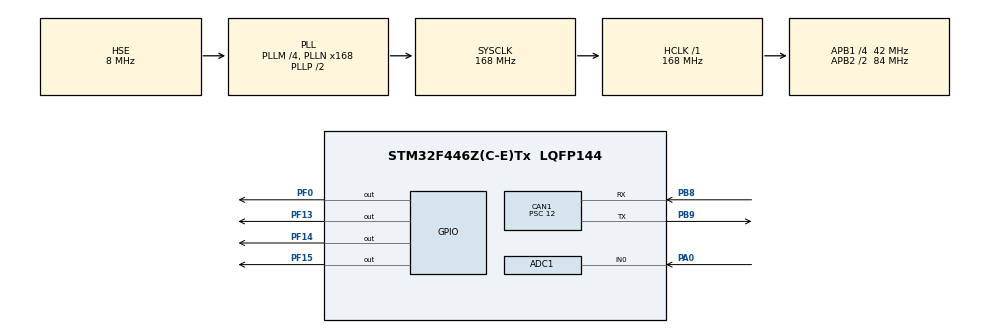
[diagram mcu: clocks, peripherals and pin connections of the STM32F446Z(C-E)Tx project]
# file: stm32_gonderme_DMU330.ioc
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ADC1.Channel-1\#ChannelRegularConversion=ADC_CHANNEL_0
ADC1.Channel-3\#ChannelRegularConversion=ADC_CHANNEL_0
ADC1.ContinuousConvMode=ENABLE
ADC1.DiscontinuousConvMode=DISABLE
ADC1.NbrOfConversion=2
ADC1.NbrOfConversionFlag=1
ADC1.Rank-1\#ChannelRegularConversion=1
ADC1.Rank-3\#ChannelRegularConversion=2
ADC1.SamplingTime-1\#ChannelRegularConversion=ADC_SAMPLETIME_144CYCLES
ADC1.SamplingTime-3\#ChannelRegularConversion=ADC_SAMPLETIME_3CYCLES
ADC1.ScanConvMode=ENABLE
ADC1.master=1
CAN1.BS1=CAN_BS1_11TQ
CAN1.BS2=CAN_BS2_2TQ
CAN1.CalculateBaudRate=250000
CAN1.CalculateTimeBit=4000
CAN1.CalculateTimeQuantum=285.7142857142857
CAN1.Prescaler=12
Mcu.Family=STM32F4
Mcu.Name=STM32F446Z(C-E)Tx
Mcu.Package=LQFP144
NVIC.CAN1_RX0_IRQn=true\:0\:1\:false\:false\:true\:true\:true\:true
NVIC.PriorityGroup=NVIC_PRIORITYGROUP_0
PA0-WKUP.Signal=ADCx_IN0
PA13.Mode=Serial_Wire
PA13.Signal=SYS_JTMS-SWDIO
PA14.Mode=Serial_Wire
PA14.Signal=SYS_JTCK-SWCLK
PB8.Mode=CAN_Activate
PB8.Signal=CAN1_RX
PB9.Mode=CAN_Activate
PB9.Signal=CAN1_TX
PF0.Signal=GPIO_Output
PF13.Signal=GPIO_Output
PF14.Signal=GPIO_Output
PF15.Signal=GPIO_Output
PH0-OSC_IN.Mode=HSE-External-Oscillator
PH0-OSC_IN.Signal=RCC_OSC_IN
PH1-OSC_OUT.Mode=HSE-External-Oscillator
PH1-OSC_OUT.Signal=RCC_OSC_OUT
ProjectManager.HeapSize=0x200
ProjectManager.StackSize=0x400
ProjectManager.TargetToolchain=STM32CubeIDE
RCC.AHBFreq_Value=168000000
RCC.APB1CLKDivider=RCC_HCLK_DIV4
RCC.APB1Freq_Value=42000000
RCC.APB1TimFreq_Value=84000000
RCC.APB2CLKDivider=RCC_HCLK_DIV2
RCC.APB2Freq_Value=84000000
RCC.APB2TimFreq_Value=168000000
RCC.CortexFreq_Value=168000000
RCC.HCLKFreq_Value=168000000
RCC.HSE_VALUE=8000000
RCC.PLLM=4
RCC.PLLN=168
RCC.PLLSourceVirtual=RCC_PLLSOURCE_HSE
RCC.SYSCLKFreq_VALUE=168000000
RCC.SYSCLKSource=RCC_SYSCLKSOURCE_PLLCLK
RCC.USBFreq_Value=168000000
RCC.VCOOutputFreq_Value=336000000
SH.ADCx_IN0.0=ADC1_IN0,IN0
board=custom

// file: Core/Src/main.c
/* USER CODE BEGIN Header */
/**
  ******************************************************************************
  * @file           : main.c
  * @brief          : Main program body
  ******************************************************************************
  * @attention
  *
  * Copyright (c) 2024 STMicroelectronics.
  * All rights reserved.
  *
  * This software is licensed under terms that can be found in the LICENSE file
  * in the root directory of this software component.
  * If no LICENSE file comes with this software, it is provided AS-IS.
  *
  ******************************************************************************
  */
/* USER CODE END Header */
#include "main.h"
#include "stdio.h"
#include "stdlib.h"

/* USER CODE BEGIN PD */
CAN_FilterTypeDef sFilterConfig;
/* USER CODE END PD */

ADC_HandleTypeDef hadc1;

CAN_HandleTypeDef hcan1;

void SystemClock_Config(void);
static void MX_GPIO_Init(void);
static void MX_CAN1_Init(void);
static void MX_ADC1_Init(void);

/* USER CODE BEGIN 0 */
//CAN_TxHeaderTypeDef pTxHeader;
//CAN_RxHeaderTypeDef pRxHeader;

//uint32_t TxData[8];
//uint32_t RxData[8];
//uint32_t TxMailBox;
uint32_t amp1_buff1[8];
uint32_t amp1_buff2[8];

typedef struct {
    CAN_TxHeaderTypeDef pTxHeader; // Mesaj başlığı
    CAN_RxHeaderTypeDef RxHeader;

    uint8_t TxData[8];            // Veri
    uint32_t TxMailbox;           // Mailbox ID
    uint8_t RxData[8];            // Alınan veri
    uint16_t feedback_amp;        // Geri bildirim verisi
} CAN_MessageTypeDef;

CAN_MessageTypeDef amp1;

//CAN_TxHeaderTypeDef pTxHeader; // Mesaj başlığı
//unsigned char TxData[8];      // Veri
//uint32_t TxMailbox;          // Mailbox ID
//uint32_t RxData[8];         // Alınan veri
//uint16_t feedback_amp;     // Geri bildirim verisi

/* USER CODE END 0 */

int main(void)
{

  /* MCU Configuration--------------------------------------------------------*/

  /* Reset of all peripherals, Initializes the Flash interface and the Systick. */
  HAL_Init();

  /* Configure the system clock */
  SystemClock_Config();

  /* Initialize all configured peripherals */
  MX_GPIO_Init();
  MX_CAN1_Init();
  MX_ADC1_Init();
  /* USER CODE BEGIN 2 */
	HAL_CAN_Start(&hcan1);

    // Activate interrupt
    HAL_CAN_ActivateNotification(&hcan1, CAN_IT_RX_FIFO0_MSG_PENDING);
//	  // set filter parameter
  if (HAL_CAN_ActivateNotification(&hcan1, CAN_IT_RX_FIFO0_MSG_PENDING) != HAL_OK)
    {
      Error_Handler();
    }
    sFilterConfig.FilterBank = 0;
    sFilterConfig.FilterMode = CAN_FILTERMODE_IDMASK;
    sFilterConfig.FilterScale = CAN_FILTERSCALE_32BIT;
    sFilterConfig.FilterIdHigh = 0x0000;
    sFilterConfig.FilterIdLow = 0x0000 ;
    sFilterConfig.FilterMaskIdHigh =0x0000; // 0xFFF0- 0x0150 dersek yine aynı şeyi yapar
    sFilterConfig.FilterMaskIdLow = 0x0000;
    sFilterConfig.FilterFIFOAssignment = CAN_RX_FIFO0;
    sFilterConfig.FilterActivation = ENABLE;
  //  HAL_CAN_GetRxMessage(&hcan1, CAN_RX_FIFO0 , &pRxHeader, RxData);
    HAL_CAN_ActivateNotification(&hcan1, CAN_IT_RX_FIFO0_MSG_PENDING);
    if (HAL_CAN_ConfigFilter(&hcan1, &sFilterConfig) != HAL_OK)
    {
      Error_Handler();
    }

//    amp1.RxHeader.StdId=0x0000;
//    amp1.RxHeader.DLC=1;
//    amp1.RxHeader.IDE=CAN_ID_STD;
//    amp1.RxHeader.RTR=CAN_RTR_DATA;

    amp1.pTxHeader.StdId= 0x0000;// 0x07E1
    amp1.pTxHeader.DLC=8;
    amp1.pTxHeader.IDE=CAN_ID_STD;
    amp1.pTxHeader.RTR = CAN_RTR_DATA;

	HAL_CAN_ConfigFilter(&hcan1, &sFilterConfig);

//////*******************************************************
	/// dmu okuma
//void Read_Adc(){
//    HAL_ADC_Start(&hadc1);  // ADC'yi başlat
//
//    if(HAL_ADC_PollForConversion(&hadc1, 100000) == HAL_OK){
//    	TxData[0] = HAL_ADC_GetValue(&hadc1);
//    	TxData[1] =
//    	HAL_CAN_AddTxMessage(&hcan1, &pTxHeader, TxData, &TxMailBox);
//    }
//    HAL_ADC_Stop(&hadc1);

//////*******************************************************

	void Read_Adc()
	{
	    HAL_ADC_Start(&hadc1);  // ADC'yi başlat

	    if(HAL_ADC_PollForConversion(&hadc1, 100000) == HAL_OK)
	    {
	    	amp1.TxData[0] = HAL_ADC_GetValue(&hadc1);
//	    	HAL_ADC_GetValue(&hadc1);

//	        amp1.TxData[0]=0x48;
	        amp1.TxData[1]=0x00;
	        amp1.TxData[2]=0x21;
	        amp1.TxData[3]=0x01;
	        amp1.TxData[4]=0x20;
	        amp1.TxData[5]=0x12;
	     	amp1.TxData[6]=0x00;
	        amp1.TxData[7]=0x30;
	        HAL_CAN_AddTxMessage(&hcan1, &amp1.pTxHeader, amp1.TxData, &amp1.TxMailbox);
	        HAL_Delay(1);

	        if(amp1.RxData[5] != 0xFF)
	        {
	        sprintf(amp1_buff1, "%d", amp1.RxData[4]);
	        sprintf(amp1_buff2, "%d", amp1.RxData[5]);
	       	amp1.feedback_amp= atoi(amp1_buff2)*256 + atoi(amp1_buff1);  //atoi (ASCII to Integer), bir C kütüphane fonksiyonudur ve bir C string'ini (char dizisini) tamsayı (int) veri türüne dönüştürmek için kullanılır.
	        }else{
	        sprintf(amp1_buff1, "%d", amp1.RxData[4]);
	        sprintf(amp1_buff2, "%d", amp1.RxData[5]);
	        amp1.feedback_amp = 65536 - (atoi(amp1_buff2)*256 + atoi(amp1_buff1));
	        }
	        HAL_Delay(1);

	    }
}
//	    HAL_ADC_Stop(&hadc1);

//    amp1.TxData[0]=0x48;
//    amp1.TxData[1]=0x00;
//    amp1.TxData[2]=0x21;
//    amp1.TxData[3]=0x01;
//    amp1.TxData[4]=0x00;
//    amp1.TxData[5]=0x00;
// 	amp1.TxData[6]=0x00;
//    amp1.TxData[7]=0x00;
//    HAL_CAN_AddTxMessage(&hcan1, &amp1.TxHeader, amp1.TxData, &amp1.TxMailbox);
//    HAL_Delay(1);
//
//    amp2.TxData[0]=0x48;
//    amp2.TxData[1]=0x00;
//    amp2.TxData[2]=0x21;
//    amp2.TxData[3]=0x02;
//    amp2.TxData[4]=0x00;
//   	amp2.TxData[5]=0x00;
//    amp2.TxData[6]=0x00;
//    amp2.TxData[7]=0x00;
//    HAL_CAN_AddTxMessage(&hcan1, &amp2.TxHeader, amp2.TxData, &amp2.TxMailbox);
//
//    if(amp1.RxData[5] != 0xFF)
//    {
//    sprintf(amp1_buff1, "%d", amp1.RxData[4]);
//    sprintf(amp1_buff2, "%d", amp1.RxData[5]);
//   	amp1.feedback_amp= atoi(amp1_buff2)*256 + atoi(amp1_buff1);  //atoi (ASCII to Integer), bir C kütüphane fonksiyonudur ve bir C string'ini (char dizisini) tamsayı (int) veri türüne dönüştürmek için kullanılır.
//    }else{
//    sprintf(amp1_buff1, "%d", amp1.RxData[4]);
//    sprintf(amp1_buff2, "%d", amp1.RxData[5]);
//    amp1.feedback_amp = 65536 - (atoi(amp1_buff2)*256 + atoi(amp1_buff1));
//    }
//    HAL_Delay(1);
//
//    if(amp2.RxData[5] != 0xFF)
//    {
//    sprintf(amp2_buff1, "%d", amp2.RxData[4]);
//    sprintf(amp2_buff2, "%d", amp2.RxData[5]);
//    amp2.feedback_amp = atoi(amp2_buff2)*256 + atoi(amp2_buff1);
//    }else{
//    sprintf(amp2_buff1, "%d", amp2.RxData[4]);
//    sprintf(amp2_buff2, "%d", amp2.RxData[5]);
//    amp2.feedback_amp= 65536 - (atoi(amp2_buff2)*256 + atoi(amp2_buff1));
//    }

  /* USER CODE END 2 */

  /* Infinite loop */
  while (1)
  {

    /* USER CODE BEGIN 3 */
//	  ADC_val = HAL_ADC_GetValue(&hadc1);
//	  HAL_ADC_PollForConversion(&hadc1, ADC_val); // ADC dönüşümünü
	  Read_Adc();
//	  HAL_ADC_Start(&hadc1);
////	  HAL_ADC_PollForConversion(&hadc1 ,100);
//	  ADC_Val = HAL_ADC_GetValue(&hadc1);

//      TxData[0]=0x48;
//      TxData[1]=0x00;
//      TxData[2]=0x21;
//      TxData[3]=0x01;
//      TxData[4]=0x20;
//      TxData[5]=0xFF;
//   	  TxData[6]=0x00;
//      TxData[7]=0x00;
//      HAL_CAN_AddTxMessage(&hcan1, &amp1.pTxHeader, TxData, &TxMailbox);
//      HAL_Delay(1);
//	    // Test: Set GPIO pin high
//	    HAL_GPIO_WritePin(GPIOF, GPIO_PIN_0, GPIO_PIN_SET);
//
//	    // Get ADC value
//	    HAL_ADC_Start(&hadc1);
//	    HAL_ADC_PollForConversion(&hadc1, HAL_MAX_DELAY);
//	    ADC_Val = HAL_ADC_GetValue(&hadc1);
//
//	    // Test: Set GPIO pin low
//	    HAL_GPIO_WritePin(GPIOF, GPIO_PIN_0, GPIO_PIN_RESET);

	  //***************************
	  // gelen veri ile toggle yapma
//      TxData=HAL_GPIO_ReadPin(GPIOE, GPIO_PIN_13);
//      if(TxData==1){
//    	  HAL_GPIO_TogglePin(GPIOF, GPIO_PIN_0);
//      }else{
//    	  HAL_GPIO_WritePin(GPIOF, GPIO_PIN_0, GPIO_PIN_RESET);
//      }
	  //***************************
  }
  /* USER CODE END 3 */
}

void SystemClock_Config(void)
{
  RCC_OscInitTypeDef RCC_OscInitStruct = {0};
  RCC_ClkInitTypeDef RCC_ClkInitStruct = {0};

  /** Configure the main internal regulator output voltage
  */
  __HAL_RCC_PWR_CLK_ENABLE();
  __HAL_PWR_VOLTAGESCALING_CONFIG(PWR_REGULATOR_VOLTAGE_SCALE1);

  /** Initializes the RCC Oscillators according to the specified parameters
  * in the RCC_OscInitTypeDef structure.
  */
  RCC_OscInitStruct.OscillatorType = RCC_OSCILLATORTYPE_HSE;
  RCC_OscInitStruct.HSEState = RCC_HSE_ON;
  RCC_OscInitStruct.PLL.PLLState = RCC_PLL_ON;
  RCC_OscInitStruct.PLL.PLLSource = RCC_PLLSOURCE_HSE;
  RCC_OscInitStruct.PLL.PLLM = 4;
  RCC_OscInitStruct.PLL.PLLN = 168;
  RCC_OscInitStruct.PLL.PLLP = RCC_PLLP_DIV2;
  RCC_OscInitStruct.PLL.PLLQ = 2;
  RCC_OscInitStruct.PLL.PLLR = 2;
  if (HAL_RCC_OscConfig(&RCC_OscInitStruct) != HAL_OK)
  {
    Error_Handler();
  }

  /** Initializes the CPU, AHB and APB buses clocks
  */
  RCC_ClkInitStruct.ClockType = RCC_CLOCKTYPE_HCLK|RCC_CLOCKTYPE_SYSCLK
                              |RCC_CLOCKTYPE_PCLK1|RCC_CLOCKTYPE_PCLK2;
  RCC_ClkInitStruct.SYSCLKSource = RCC_SYSCLKSOURCE_PLLCLK;
  RCC_ClkInitStruct.AHBCLKDivider = RCC_SYSCLK_DIV1;
  RCC_ClkInitStruct.APB1CLKDivider = RCC_HCLK_DIV4;
  RCC_ClkInitStruct.APB2CLKDivider = RCC_HCLK_DIV2;

  if (HAL_RCC_ClockConfig(&RCC_ClkInitStruct, FLASH_LATENCY_5) != HAL_OK)
  {
    Error_Handler();
  }
}

static void MX_ADC1_Init(void)
{

  ADC_ChannelConfTypeDef sConfig = {0};

  /** Configure the global features of the ADC (Clock, Resolution, Data Alignment and number of conversion)
  */
  hadc1.Instance = ADC1;
  hadc1.Init.ClockPrescaler = ADC_CLOCK_SYNC_PCLK_DIV4;
  hadc1.Init.Resolution = ADC_RESOLUTION_12B;
  hadc1.Init.ScanConvMode = ENABLE;
  hadc1.Init.ContinuousConvMode = ENABLE;
  hadc1.Init.DiscontinuousConvMode = DISABLE;
  hadc1.Init.ExternalTrigConvEdge = ADC_EXTERNALTRIGCONVEDGE_NONE;
  hadc1.Init.ExternalTrigConv = ADC_SOFTWARE_START;
  hadc1.Init.DataAlign = ADC_DATAALIGN_RIGHT;
  hadc1.Init.NbrOfConversion = 2;
  hadc1.Init.DMAContinuousRequests = DISABLE;
  hadc1.Init.EOCSelection = ADC_EOC_SINGLE_CONV;
  if (HAL_ADC_Init(&hadc1) != HAL_OK)
  {
    Error_Handler();
  }

  /** Configure for the selected ADC regular channel its corresponding rank in the sequencer and its sample time.
  */
  sConfig.Channel = ADC_CHANNEL_0;
  sConfig.Rank = 1;
  sConfig.SamplingTime = ADC_SAMPLETIME_144CYCLES;
  if (HAL_ADC_ConfigChannel(&hadc1, &sConfig) != HAL_OK)
  {
    Error_Handler();
  }

  /** Configure for the selected ADC regular channel its corresponding rank in the sequencer and its sample time.
  */
  sConfig.Rank = 2;
  sConfig.SamplingTime = ADC_SAMPLETIME_3CYCLES;
  if (HAL_ADC_ConfigChannel(&hadc1, &sConfig) != HAL_OK)
  {
    Error_Handler();
  }

}

static void MX_CAN1_Init(void)
{

  hcan1.Instance = CAN1;
  hcan1.Init.Prescaler = 12;
  hcan1.Init.Mode = CAN_MODE_NORMAL;
  hcan1.Init.SyncJumpWidth = CAN_SJW_1TQ;
  hcan1.Init.TimeSeg1 = CAN_BS1_11TQ;
  hcan1.Init.TimeSeg2 = CAN_BS2_2TQ;
  hcan1.Init.TimeTriggeredMode = DISABLE;
  hcan1.Init.AutoBusOff = DISABLE;
  hcan1.Init.AutoWakeUp = DISABLE;
  hcan1.Init.AutoRetransmission = DISABLE;
  hcan1.Init.ReceiveFifoLocked = DISABLE;
  hcan1.Init.TransmitFifoPriority = DISABLE;
  if (HAL_CAN_Init(&hcan1) != HAL_OK)
  {
    Error_Handler();
  }

}

static void MX_GPIO_Init(void)
{
  GPIO_InitTypeDef GPIO_InitStruct = {0};

  /* GPIO Ports Clock Enable */
  __HAL_RCC_GPIOF_CLK_ENABLE();
  __HAL_RCC_GPIOH_CLK_ENABLE();
  __HAL_RCC_GPIOA_CLK_ENABLE();
  __HAL_RCC_GPIOB_CLK_ENABLE();

  /*Configure GPIO pin Output Level */
  HAL_GPIO_WritePin(GPIOF, GPIO_PIN_0|GPIO_PIN_13|GPIO_PIN_14|GPIO_PIN_15, GPIO_PIN_RESET);

  /*Configure GPIO pins : PF0 PF13 PF14 PF15 */
  GPIO_InitStruct.Pin = GPIO_PIN_0|GPIO_PIN_13|GPIO_PIN_14|GPIO_PIN_15;
  GPIO_InitStruct.Mode = GPIO_MODE_OUTPUT_PP;
  GPIO_InitStruct.Pull = GPIO_NOPULL;
  GPIO_InitStruct.Speed = GPIO_SPEED_FREQ_LOW;
  HAL_GPIO_Init(GPIOF, &GPIO_InitStruct);

}

/* USER CODE BEGIN 4 */
void HAL_CAN_RxFifo0MsgPendingCallback(CAN_HandleTypeDef *hcan1)
{

}
/* USER CODE END 4 */

void Error_Handler(void)
{
  __disable_irq();
  while (1)
  {
  }
}
